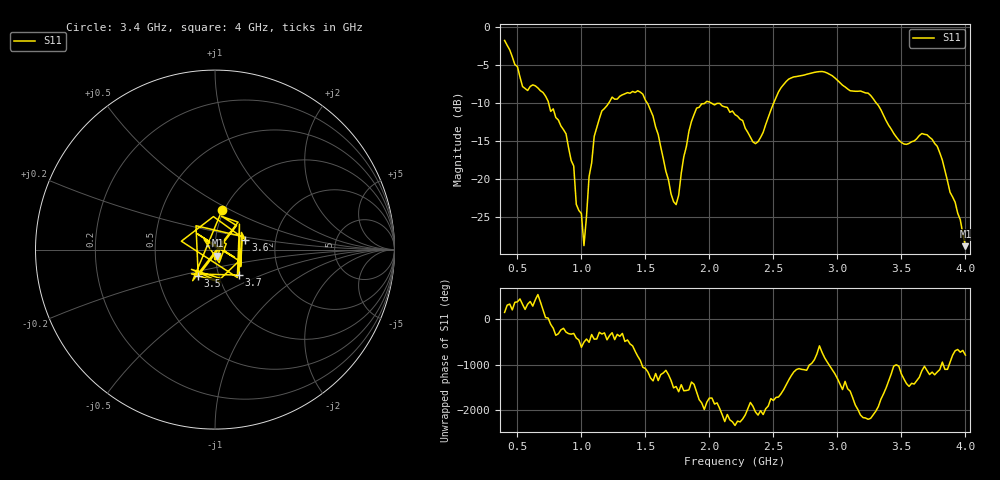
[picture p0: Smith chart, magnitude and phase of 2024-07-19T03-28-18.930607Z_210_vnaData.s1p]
!Created with skrf (http://scikit-rf.org).
# Hz S RI R 50.0
!freq ReS11 ImS11
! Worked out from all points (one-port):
!   181 points, 400 MHz to 4 GHz, reference 50 ohm
!   lowest |S11| = -28.9 dB at 4 GHz (marker M1), VSWR 1.07, Z = 51.3 - j3.42 ohm
!   |S11| at or under -10 dB: 743.6 MHz to 1.213 GHz (469.5 MHz wide, 48 % of centre); 2.015 GHz to 2.502 GHz (487.1 MHz wide, 21.6 % of centre); 3.304 GHz to end of sweep (the widest 3 of 4)
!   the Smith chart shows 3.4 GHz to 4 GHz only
!   S11 on the Smith chart (normalised r, x): 3.4 GHz: 0.98, +0.46; 3.5 GHz: 0.80, -0.24; 3.6 GHz: 1.40, +0.16; 3.7 GHz: 1.25, -0.37; 4 GHz: 1.03, -0.07
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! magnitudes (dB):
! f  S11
! 400 MHz  -1.7
! 540 MHz  -7.8
! 700 MHz  -8.6
! 860 MHz  -13.5
! 940 MHz  -18.3
! 960 MHz  -23.3
! 1 GHz  -24.6
! 1.02 GHz  -28.8
! 1.06 GHz  -19.7
! 1.1 GHz  -14.4
! 1.3 GHz  -9.1
! 1.48 GHz  -8.8
! 1.56 GHz  -11.7
! 1.72 GHz  -23.0
! 1.76 GHz  -22.1
! 1.84 GHz  -13.7
! 1.9 GHz  -10.7
! 2.2 GHz  -11.5
! 2.36 GHz  -15.3
! 2.66 GHz  -6.5
! 3.1 GHz  -8.4
! 3.4 GHz  -12.9
! 3.5 GHz  -15.2
! 3.56 GHz  -15.3
! 3.6 GHz  -15.0
! 3.7 GHz  -14.2
! 3.82 GHz  -17.5
! 4 GHz  -28.9
